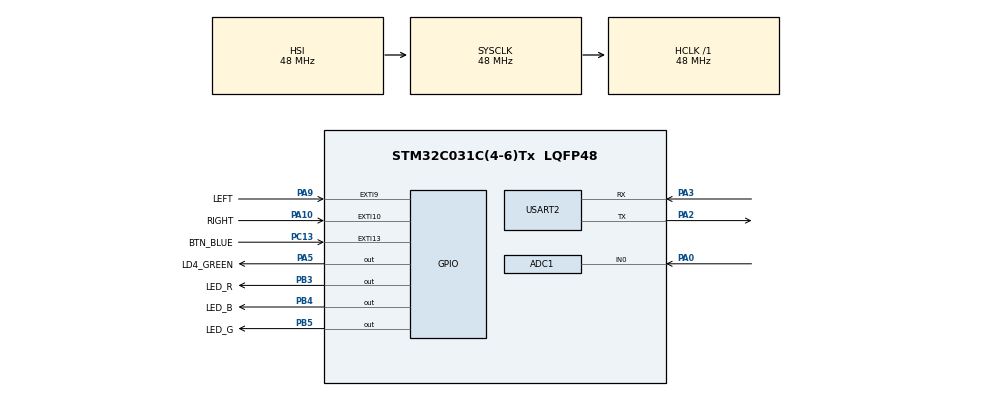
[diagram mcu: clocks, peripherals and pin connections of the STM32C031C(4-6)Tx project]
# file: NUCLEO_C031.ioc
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ADC1.Channel-0\#ChannelRegularConversion=ADC_CHANNEL_0
ADC1.DMAContinuousRequests=ENABLE
ADC1.NbrOfConversionFlag=1
ADC1.Rank-0\#ChannelRegularConversion=1
ADC1.SamplingTime-0\#ChannelRegularConversion=ADC_SAMPLINGTIME_COMMON_1
ADC1.SelectedChannel=ADC_CHANNEL_0
ADC1.master=1
Dma.ADC1.0.Direction=DMA_PERIPH_TO_MEMORY
Dma.ADC1.0.EventEnable=DISABLE
Dma.ADC1.0.Instance=DMA1_Channel1
Dma.ADC1.0.MemDataAlignment=DMA_MDATAALIGN_WORD
Dma.ADC1.0.MemInc=DMA_MINC_ENABLE
Dma.ADC1.0.Mode=DMA_CIRCULAR
Dma.ADC1.0.PeriphDataAlignment=DMA_PDATAALIGN_WORD
Dma.ADC1.0.PeriphInc=DMA_PINC_DISABLE
Dma.ADC1.0.Polarity=HAL_DMAMUX_REQ_GEN_RISING
Dma.ADC1.0.Priority=DMA_PRIORITY_LOW
Dma.ADC1.0.RequestNumber=1
Dma.ADC1.0.SignalID=NONE
Dma.ADC1.0.SyncEnable=DISABLE
Dma.ADC1.0.SyncPolarity=HAL_DMAMUX_SYNC_NO_EVENT
Dma.ADC1.0.SyncRequestNumber=1
Dma.ADC1.0.SyncSignalID=NONE
Dma.Request0=ADC1
Mcu.Family=STM32C0
Mcu.Name=STM32C031C(4-6)Tx
Mcu.Package=LQFP48
NVIC.DMA1_Channel1_IRQn=true\:0\:0\:false\:false\:true\:false\:true\:true
NVIC.EXTI4_15_IRQn=true\:0\:0\:false\:false\:true\:true\:true\:true
NVIC.TIM1_BRK_UP_TRG_COM_IRQn=true\:0\:0\:false\:false\:true\:true\:true\:true
PA0.Mode=IN0
PA0.Signal=ADC1_IN0
PA10.GPIO_Label=RIGHT
PA10.GPIO_ModeDefaultEXTI=GPIO_MODE_IT_FALLING
PA10.Signal=GPXTI10
PA2.Mode=Asynchronous
PA2.Signal=USART2_TX
PA3.Mode=Asynchronous
PA3.Signal=USART2_RX
PA5.GPIO_Label=LD4_GREEN
PA5.Signal=GPIO_Output
PA9.GPIO_Label=LEFT
PA9.GPIO_ModeDefaultEXTI=GPIO_MODE_IT_FALLING
PA9.Signal=GPXTI9
PB3.GPIO_Label=LED_R
PB3.Signal=GPIO_Output
PB4.GPIO_Label=LED_B
PB4.Signal=GPIO_Output
PB5.GPIO_Label=LED_G
PB5.Signal=GPIO_Output
PC13.GPIO_Label=BTN_BLUE
PC13.GPIO_ModeDefaultEXTI=GPIO_MODE_IT_FALLING
PC13.Signal=GPXTI13
ProjectManager.HeapSize=0x200
ProjectManager.StackSize=0x400
ProjectManager.TargetToolchain=STM32CubeIDE
RCC.ADCFreq_Value=48000000
RCC.AHBFreq_Value=48000000
RCC.CortexFreq_Value=48000000
RCC.EXTERNAL_CLOCK_VALUE=12288000
RCC.HCLKFreq_Value=48000000
RCC.HSE_VALUE=8000000
RCC.HSISYSCLKDivider=RCC_HSI_DIV1
RCC.HSI_VALUE=48000000
RCC.LSE_VALUE=32768
RCC.SYSCLKFreq_VALUE=48000000
TIM1.Period=99
TIM1.Prescaler=1399
USART2.VirtualMode-Asynchronous=VM_ASYNC
VP_TIM1_VS_ClockSourceINT.Mode=Internal
board=custom

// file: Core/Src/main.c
/* USER CODE BEGIN Header */
/**
  ******************************************************************************
  * @file           : main.c
  * @brief          : Main program body
  ******************************************************************************
  * @attention
  *
  * Copyright (c) 2023 STMicroelectronics.
  * All rights reserved.
  *
  * This software is licensed under terms that can be found in the LICENSE file
  * in the root directory of this software component.
  * If no LICENSE file comes with this software, it is provided AS-IS.
  *
  ******************************************************************************
  */
/* USER CODE END Header */
#include "main.h"

/* USER CODE BEGIN Includes */
#include "stm32c031xx.h"
#include "stm32c0xx_hal.h"
#include "button.h"
#include "led.h"
#include <stdio.h>
//#include "Variables.h"
/* USER CODE END Includes */

/* USER CODE BEGIN PD */
#define DEBOUNCE	25
/* USER CODE END PD */

ADC_HandleTypeDef hadc1;
DMA_HandleTypeDef hdma_adc1;

TIM_HandleTypeDef htim1;

UART_HandleTypeDef huart2;

/* USER CODE BEGIN PV */
extern uint32_t adc_buffer[];
extern int counterButton;
char *dia[] ={"Domingo","Segunda","Terca","Quarta","Quinta","Sexta","Sabado",0};
char **ptr_dia = dia;
struct DigitalChannels Channel_0 = { RIGHT_Pin, 0, 0, DEBOUNCE, HIGH, HIGH, (void*)ID_0, false };
struct DigitalChannels Channel_1 = { LEFT_Pin , 0, 0, DEBOUNCE, HIGH, HIGH, (void*)ID_1 ,false };
struct DigitalChannels Channel_2 = { BTN_BLUE_Pin , 0, 0, DEBOUNCE, HIGH, HIGH, (void*)ID_2 ,false };
/* USER CODE END PV */

void SystemClock_Config(void);
static void MX_GPIO_Init(void);
static void MX_DMA_Init(void);
static void MX_ADC1_Init(void);
static void MX_TIM1_Init(void);
static void MX_USART2_UART_Init(void);

/* USER CODE BEGIN 0 */
void adcCalibration()
{
	// Start calibration
	if (HAL_ADCEx_Calibration_Start(&hadc1) != HAL_OK) {
	    // Calibration failed
	    Error_Handler();
	}

	// Wait for calibration to finish (you can use HAL_Delay or a timer)
	HAL_Delay(100); // Adjust the delay time as needed

	// Read calibration values (typically stored in ADC->CALFACT)

	uint32_t calibrationValue = ADC1->CALFACT;

	// Apply calibration values
	if (HAL_ADCEx_Calibration_SetValue(&hadc1, calibrationValue) != HAL_OK) {
	    // Setting calibration values failed
		return 0;
	   // Error_Handler();
	}
}
/* USER CODE END 0 */

int main(void)
{

  /* MCU Configuration--------------------------------------------------------*/

  /* Reset of all peripherals, Initializes the Flash interface and the Systick. */
  HAL_Init();

  /* Configure the system clock */
  SystemClock_Config();

  /* Initialize all configured peripherals */
  MX_GPIO_Init();
  MX_DMA_Init();
  MX_ADC1_Init();
  MX_TIM1_Init();
  MX_USART2_UART_Init();
  /* USER CODE BEGIN 2 */
  HAL_TIM_Base_Start_IT(&htim1);

  HAL_ADC_Init(&hadc1);
  adcCalibration();
 HAL_DMA_Init(&hdma_adc1);
  //LL_DMA_Init(&hdma_adc1);
  HAL_ADC_Start_DMA(&hadc1, (uint32_t *)adc_buffer, 10);
  HAL_ADC_Start_IT(&hadc1);
  led_init();

  /* USER CODE END 2 */

  /* Infinite loop */
  /* USER CODE BEGIN WHILE */
  while (1)
  {
	  HAL_ADC_Start_IT(&hadc1);

	 /* while(*ptr_dia)
	  {
		  printf("%s\r",*ptr_dia);
		  ptr_dia++;
	  }*/
	  if(Channel_0.isPressed)
	  //if(Channel_0.count!=0)
	  {
		  Channel_0.isPressed = false;
		  Channel_0.count =0;
		  if(counterButton<=2)counterButton++;
		  ptr_dia++;
	  }
	  if(Channel_1.isPressed)
	  //if(Channel_1.count!=0)
	  {
		  Channel_1.isPressed = false;
		  Channel_1.count =0;
		  if(counterButton >0)counterButton--;
		  ptr_dia--;
	  }
	  if(Channel_2.isPressed){
		  Channel_2.isPressed = false;
		  Channel_2.count =0;
	  }
	  switch(counterButton)
	  {
	  	  case 1: led_setON(LED_GREEN);
	  	  	  	  led_setOFF(LED_RED);
	  	  	  	  led_setOFF(LED_YELLOW);
	  	  	  	  break;
	  	  case 2: led_setON(LED_RED);
	  	  	  	  led_setOFF(LED_YELLOW);
	  	  	  	  led_setOFF(LED_GREEN);

	  		  	  break;
	  	  case 3: led_setON(LED_YELLOW);
	  	  	  	  led_setOFF(LED_RED);
	  		  	  led_setOFF(LED_GREEN);
	  		  	  break;
	  	  case 4: counterButton =0;
	  	  	  	  break;
	  	  default: break;

	  }
	  led_update();
    /* USER CODE END WHILE */

  }
}

void SystemClock_Config(void)
{
  RCC_OscInitTypeDef RCC_OscInitStruct = {0};
  RCC_ClkInitTypeDef RCC_ClkInitStruct = {0};

  /** Initializes the RCC Oscillators according to the specified parameters
  * in the RCC_OscInitTypeDef structure.
  */
  RCC_OscInitStruct.OscillatorType = RCC_OSCILLATORTYPE_HSI;
  RCC_OscInitStruct.HSIState = RCC_HSI_ON;
  RCC_OscInitStruct.HSIDiv = RCC_HSI_DIV1;
  RCC_OscInitStruct.HSICalibrationValue = RCC_HSICALIBRATION_DEFAULT;
  if (HAL_RCC_OscConfig(&RCC_OscInitStruct) != HAL_OK)
  {
    Error_Handler();
  }

  /** Initializes the CPU, AHB and APB buses clocks
  */
  RCC_ClkInitStruct.ClockType = RCC_CLOCKTYPE_HCLK|RCC_CLOCKTYPE_SYSCLK
                              |RCC_CLOCKTYPE_PCLK1;
  RCC_ClkInitStruct.SYSCLKSource = RCC_SYSCLKSOURCE_HSI;
  RCC_ClkInitStruct.SYSCLKDivider = RCC_SYSCLK_DIV1;
  RCC_ClkInitStruct.AHBCLKDivider = RCC_HCLK_DIV1;
  RCC_ClkInitStruct.APB1CLKDivider = RCC_APB1_DIV1;

  if (HAL_RCC_ClockConfig(&RCC_ClkInitStruct, FLASH_LATENCY_1) != HAL_OK)
  {
    Error_Handler();
  }
}

static void MX_ADC1_Init(void)
{

  ADC_ChannelConfTypeDef sConfig = {0};

  /** Configure the global features of the ADC (Clock, Resolution, Data Alignment and number of conversion)
  */
  hadc1.Instance = ADC1;
  hadc1.Init.ClockPrescaler = ADC_CLOCK_SYNC_PCLK_DIV2;
  hadc1.Init.Resolution = ADC_RESOLUTION_12B;
  hadc1.Init.DataAlign = ADC_DATAALIGN_RIGHT;
  hadc1.Init.ScanConvMode = ADC_SCAN_DISABLE;
  hadc1.Init.EOCSelection = ADC_EOC_SINGLE_CONV;
  hadc1.Init.LowPowerAutoWait = DISABLE;
  hadc1.Init.LowPowerAutoPowerOff = DISABLE;
  hadc1.Init.ContinuousConvMode = DISABLE;
  hadc1.Init.NbrOfConversion = 1;
  hadc1.Init.DiscontinuousConvMode = DISABLE;
  hadc1.Init.ExternalTrigConv = ADC_SOFTWARE_START;
  hadc1.Init.ExternalTrigConvEdge = ADC_EXTERNALTRIGCONVEDGE_NONE;
  hadc1.Init.DMAContinuousRequests = ENABLE;
  hadc1.Init.Overrun = ADC_OVR_DATA_PRESERVED;
  hadc1.Init.SamplingTimeCommon1 = ADC_SAMPLETIME_1CYCLE_5;
  hadc1.Init.SamplingTimeCommon2 = ADC_SAMPLETIME_1CYCLE_5;
  hadc1.Init.OversamplingMode = DISABLE;
  hadc1.Init.TriggerFrequencyMode = ADC_TRIGGER_FREQ_HIGH;
  if (HAL_ADC_Init(&hadc1) != HAL_OK)
  {
    Error_Handler();
  }

  /** Configure Regular Channel
  */
  sConfig.Channel = ADC_CHANNEL_0;
  sConfig.Rank = ADC_REGULAR_RANK_1;
  sConfig.SamplingTime = ADC_SAMPLINGTIME_COMMON_1;
  if (HAL_ADC_ConfigChannel(&hadc1, &sConfig) != HAL_OK)
  {
    Error_Handler();
  }

}

static void MX_TIM1_Init(void)
{

  TIM_ClockConfigTypeDef sClockSourceConfig = {0};
  TIM_MasterConfigTypeDef sMasterConfig = {0};

  htim1.Instance = TIM1;
  htim1.Init.Prescaler = 1399;
  htim1.Init.CounterMode = TIM_COUNTERMODE_UP;
  htim1.Init.Period = 99;
  htim1.Init.ClockDivision = TIM_CLOCKDIVISION_DIV1;
  htim1.Init.RepetitionCounter = 0;
  htim1.Init.AutoReloadPreload = TIM_AUTORELOAD_PRELOAD_DISABLE;
  if (HAL_TIM_Base_Init(&htim1) != HAL_OK)
  {
    Error_Handler();
  }
  sClockSourceConfig.ClockSource = TIM_CLOCKSOURCE_INTERNAL;
  if (HAL_TIM_ConfigClockSource(&htim1, &sClockSourceConfig) != HAL_OK)
  {
    Error_Handler();
  }
  sMasterConfig.MasterOutputTrigger = TIM_TRGO_RESET;
  sMasterConfig.MasterOutputTrigger2 = TIM_TRGO2_RESET;
  sMasterConfig.MasterSlaveMode = TIM_MASTERSLAVEMODE_DISABLE;
  if (HAL_TIMEx_MasterConfigSynchronization(&htim1, &sMasterConfig) != HAL_OK)
  {
    Error_Handler();
  }

}

static void MX_USART2_UART_Init(void)
{

  huart2.Instance = USART2;
  huart2.Init.BaudRate = 115200;
  huart2.Init.WordLength = UART_WORDLENGTH_8B;
  huart2.Init.StopBits = UART_STOPBITS_1;
  huart2.Init.Parity = UART_PARITY_NONE;
  huart2.Init.Mode = UART_MODE_TX_RX;
  huart2.Init.HwFlowCtl = UART_HWCONTROL_NONE;
  huart2.Init.OverSampling = UART_OVERSAMPLING_16;
  huart2.Init.OneBitSampling = UART_ONE_BIT_SAMPLE_DISABLE;
  huart2.Init.ClockPrescaler = UART_PRESCALER_DIV1;
  huart2.AdvancedInit.AdvFeatureInit = UART_ADVFEATURE_NO_INIT;
  if (HAL_UART_Init(&huart2) != HAL_OK)
  {
    Error_Handler();
  }

}

static void MX_DMA_Init(void)
{

  /* DMA controller clock enable */
  __HAL_RCC_DMA1_CLK_ENABLE();

  /* DMA interrupt init */
  /* DMA1_Channel1_IRQn interrupt configuration */
  HAL_NVIC_SetPriority(DMA1_Channel1_IRQn, 0, 0);
  HAL_NVIC_EnableIRQ(DMA1_Channel1_IRQn);

}

static void MX_GPIO_Init(void)
{
  GPIO_InitTypeDef GPIO_InitStruct = {0};

  /* GPIO Ports Clock Enable */
  __HAL_RCC_GPIOC_CLK_ENABLE();
  __HAL_RCC_GPIOA_CLK_ENABLE();
  __HAL_RCC_GPIOB_CLK_ENABLE();

  /*Configure GPIO pin Output Level */
  HAL_GPIO_WritePin(LD4_GREEN_GPIO_Port, LD4_GREEN_Pin, GPIO_PIN_RESET);

  /*Configure GPIO pin Output Level */
  HAL_GPIO_WritePin(GPIOB, LED_R_Pin|LED_B_Pin|LED_G_Pin, GPIO_PIN_RESET);

  /*Configure GPIO pin : BTN_BLUE_Pin */
  GPIO_InitStruct.Pin = BTN_BLUE_Pin;
  GPIO_InitStruct.Mode = GPIO_MODE_IT_FALLING;
  GPIO_InitStruct.Pull = GPIO_NOPULL;
  HAL_GPIO_Init(BTN_BLUE_GPIO_Port, &GPIO_InitStruct);

  /*Configure GPIO pin : LD4_GREEN_Pin */
  GPIO_InitStruct.Pin = LD4_GREEN_Pin;
  GPIO_InitStruct.Mode = GPIO_MODE_OUTPUT_PP;
  GPIO_InitStruct.Pull = GPIO_NOPULL;
  GPIO_InitStruct.Speed = GPIO_SPEED_FREQ_LOW;
  HAL_GPIO_Init(LD4_GREEN_GPIO_Port, &GPIO_InitStruct);

  /*Configure GPIO pins : LEFT_Pin RIGHT_Pin */
  GPIO_InitStruct.Pin = LEFT_Pin|RIGHT_Pin;
  GPIO_InitStruct.Mode = GPIO_MODE_IT_FALLING;
  GPIO_InitStruct.Pull = GPIO_NOPULL;
  HAL_GPIO_Init(GPIOA, &GPIO_InitStruct);

  /*Configure GPIO pins : LED_R_Pin LED_B_Pin LED_G_Pin */
  GPIO_InitStruct.Pin = LED_R_Pin|LED_B_Pin|LED_G_Pin;
  GPIO_InitStruct.Mode = GPIO_MODE_OUTPUT_PP;
  GPIO_InitStruct.Pull = GPIO_NOPULL;
  GPIO_InitStruct.Speed = GPIO_SPEED_FREQ_LOW;
  HAL_GPIO_Init(GPIOB, &GPIO_InitStruct);

  /* EXTI interrupt init*/
  HAL_NVIC_SetPriority(EXTI4_15_IRQn, 0, 0);
  HAL_NVIC_EnableIRQ(EXTI4_15_IRQn);

}

void Error_Handler(void)
{
  __disable_irq();
  while (1)
  {
  }
}
